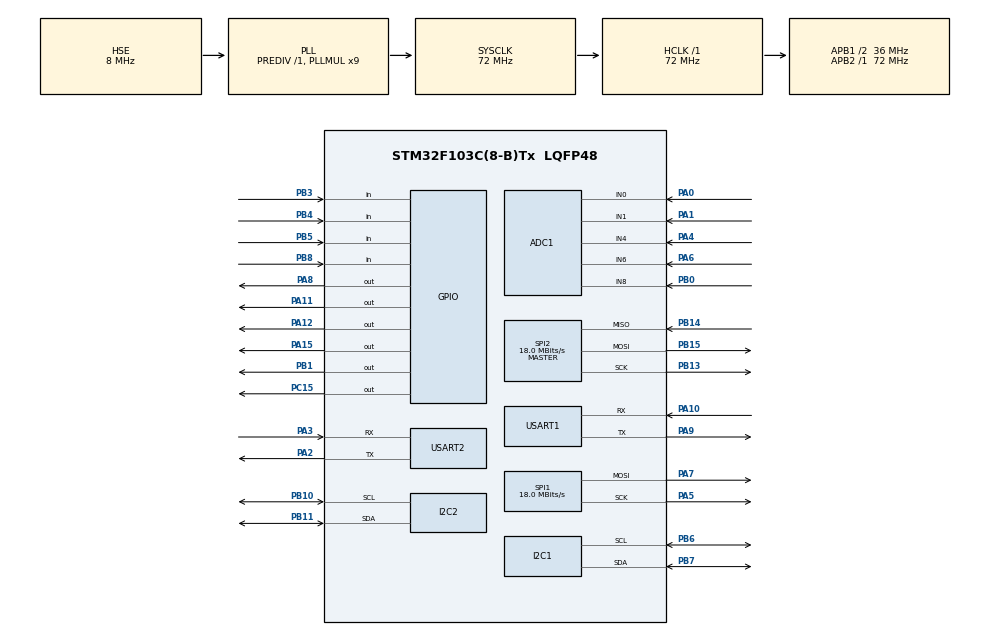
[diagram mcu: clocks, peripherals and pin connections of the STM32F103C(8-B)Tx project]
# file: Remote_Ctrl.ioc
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ADC1.Channel-5\#ChannelRegularConversion=ADC_CHANNEL_0
ADC1.ContinuousConvMode=DISABLE
ADC1.DiscontinuousConvMode=DISABLE
ADC1.EnableRegularConversion=ENABLE
ADC1.NbrOfConversionFlag=1
ADC1.Rank-5\#ChannelRegularConversion=1
ADC1.SamplingTime-5\#ChannelRegularConversion=ADC_SAMPLETIME_1CYCLE_5
ADC1.master=1
Mcu.Family=STM32F1
Mcu.Name=STM32F103C(8-B)Tx
Mcu.Package=LQFP48
NVIC.PriorityGroup=NVIC_PRIORITYGROUP_4
NVIC.TIM1_UP_IRQn=true\:15\:0\:false\:false\:true\:false\:true\:true
NVIC.TIM2_IRQn=true\:0\:0\:false\:false\:true\:true\:true\:true
NVIC.TimeBase=TIM1_UP_IRQn
NVIC.TimeBaseIP=TIM1
PA0-WKUP.Signal=ADCx_IN0
PA1.Signal=ADCx_IN1
PA10.Mode=Asynchronous
PA10.Signal=USART1_RX
PA11.Signal=GPIO_Output
PA12.Signal=GPIO_Output
PA13.Mode=Serial_Wire
PA13.Signal=SYS_JTMS-SWDIO
PA14.Mode=Serial_Wire
PA14.Signal=SYS_JTCK-SWCLK
PA15.Signal=GPIO_Output
PA2.Mode=Asynchronous
PA2.Signal=USART2_TX
PA3.Mode=Asynchronous
PA3.Signal=USART2_RX
PA4.Signal=ADCx_IN4
PA5.Mode=TX_Only_Simplex_Unidirect_Master
PA5.Signal=SPI1_SCK
PA6.Signal=ADCx_IN6
PA7.Mode=TX_Only_Simplex_Unidirect_Master
PA7.Signal=SPI1_MOSI
PA8.Signal=GPIO_Output
PA9.Mode=Asynchronous
PA9.Signal=USART1_TX
PB0.Signal=ADCx_IN8
PB1.Signal=GPIO_Output
PB10.Mode=I2C
PB10.Signal=I2C2_SCL
PB11.Mode=I2C
PB11.Signal=I2C2_SDA
PB13.Mode=Full_Duplex_Master
PB13.Signal=SPI2_SCK
PB14.Mode=Full_Duplex_Master
PB14.Signal=SPI2_MISO
PB15.Mode=Full_Duplex_Master
PB15.Signal=SPI2_MOSI
PB3.GPIO_PuPd=GPIO_PULLDOWN
PB3.Signal=GPIO_Input
PB4.GPIO_PuPd=GPIO_PULLDOWN
PB4.Signal=GPIO_Input
PB5.GPIO_PuPd=GPIO_PULLDOWN
PB5.Signal=GPIO_Input
PB6.Mode=I2C
PB6.Signal=I2C1_SCL
PB7.Mode=I2C
PB7.Signal=I2C1_SDA
PB8.GPIO_PuPd=GPIO_PULLDOWN
PB8.Signal=GPIO_Input
PC15-OSC32_OUT.Signal=GPIO_Output
PD0-OSC_IN.Mode=HSE-External-Oscillator
PD0-OSC_IN.Signal=RCC_OSC_IN
PD1-OSC_OUT.Mode=HSE-External-Oscillator
PD1-OSC_OUT.Signal=RCC_OSC_OUT
ProjectManager.HeapSize=0x200
ProjectManager.StackSize=0x400
ProjectManager.TargetToolchain=MDK-ARM V5.32
RCC.ADCPresc=RCC_ADCPCLK2_DIV6
RCC.AHBFreq_Value=72000000
RCC.APB1CLKDivider=RCC_HCLK_DIV2
RCC.APB1Freq_Value=36000000
RCC.APB1TimFreq_Value=72000000
RCC.APB2Freq_Value=72000000
RCC.APB2TimFreq_Value=72000000
RCC.HCLKFreq_Value=72000000
RCC.PLLMUL=RCC_PLL_MUL9
RCC.PLLSourceVirtual=RCC_PLLSOURCE_HSE
RCC.SYSCLKFreq_VALUE=72000000
RCC.SYSCLKSource=RCC_SYSCLKSOURCE_PLLCLK
RCC.USBFreq_Value=72000000
SH.ADCx_IN0.0=ADC1_IN0,IN0
SH.ADCx_IN1.0=ADC1_IN1,IN1
SH.ADCx_IN4.0=ADC1_IN4,IN4
SH.ADCx_IN6.0=ADC1_IN6,IN6
SH.ADCx_IN8.0=ADC1_IN8,IN8
SPI1.BaudRatePrescaler=SPI_BAUDRATEPRESCALER_4
SPI1.CLKPhase=SPI_PHASE_1EDGE
SPI1.CalculateBaudRate=18.0 MBits/s
SPI1.Direction=SPI_DIRECTION_2LINES
SPI1.Mode=SPI_MODE_MASTER
SPI1.VirtualType=VM_MASTER
SPI2.CalculateBaudRate=18.0 MBits/s
SPI2.Direction=SPI_DIRECTION_2LINES
SPI2.Mode=SPI_MODE_MASTER
SPI2.VirtualType=VM_MASTER
TIM2.AutoReloadPreload=TIM_AUTORELOAD_PRELOAD_ENABLE
TIM2.Period=500-1
TIM2.Prescaler=7199
USART1.VirtualMode=VM_ASYNC
USART2.VirtualMode=VM_ASYNC
VP_SYS_VS_tim1.Mode=TIM1
VP_TIM2_VS_ClockSourceINT.Mode=Internal
board=custom

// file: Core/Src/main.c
/* USER CODE BEGIN Header */
/**
  ******************************************************************************
  * @file           : main.c
  * @brief          : Main program body
  ******************************************************************************
  * @attention
  *
  * Copyright (c) 2024 STMicroelectronics.
  * All rights reserved.
  *
  * This software is licensed under terms that can be found in the LICENSE file
  * in the root directory of this software component.
  * If no LICENSE file comes with this software, it is provided AS-IS.
  *
  ******************************************************************************
  */
/* USER CODE END Header */
#include "main.h"
#include "adc.h"
#include "i2c.h"
#include "spi.h"
#include "tim.h"
#include "usart.h"
#include "gpio.h"

/* USER CODE BEGIN Includes */
#include "nrf24L01.h"
#include "string.h"
#include "Lcd.h"
#include "Gui.h"
#include "pic.h"
#include "remote_ctrl.h"
#include "menu.h"

/* USER CODE END Includes */

void SystemClock_Config(void);

/* USER CODE BEGIN 0 */
char stringg[10]="nihao!!";
uint16_t count;

/* USER CODE END 0 */

int main(void)
{

  /* MCU Configuration--------------------------------------------------------*/

  /* Reset of all peripherals, Initializes the Flash interface and the Systick. */
  HAL_Init();

  /* Configure the system clock */
  SystemClock_Config();

  /* Initialize all configured peripherals */
  MX_GPIO_Init();
  MX_ADC1_Init();
  MX_I2C1_Init();
  MX_I2C2_Init();
  MX_SPI1_Init();
  MX_SPI2_Init();
  MX_USART1_UART_Init();
  MX_USART2_UART_Init();
  MX_TIM2_Init();
  /* USER CODE BEGIN 2 */

	HAL_ADCEx_Calibration_Start(&hadc1);
	NRF24L01_Init();
	NRF24L01_TX_Mode();

	menu_init();

	HAL_TIM_Base_Start_IT(&htim2);

  /* USER CODE END 2 */

  /* Infinite loop */
  /* USER CODE BEGIN WHILE */
  while (1)
  {

		menu1_to_menu2= main_menu();
		if(menu1_to_menu2==0) wheel_mode();
		if(menu1_to_menu2==1) walk_mode();
		if(menu1_to_menu2==2)
		{
			while(1)
			{
				setting_to_menu3=Setting_mode();
				if(setting_to_menu3==0)       P_SET();
				else if(setting_to_menu3==1)  I_SET();
				else if(setting_to_menu3==2)  Ratio_set();
				else break;

			}
		}
		if(menu1_to_menu2==3) Author();
    /* USER CODE END WHILE */

  }
}

void SystemClock_Config(void)
{
  RCC_OscInitTypeDef RCC_OscInitStruct = {0};
  RCC_ClkInitTypeDef RCC_ClkInitStruct = {0};
  RCC_PeriphCLKInitTypeDef PeriphClkInit = {0};

  /** Initializes the RCC Oscillators according to the specified parameters
  * in the RCC_OscInitTypeDef structure.
  */
  RCC_OscInitStruct.OscillatorType = RCC_OSCILLATORTYPE_HSE;
  RCC_OscInitStruct.HSEState = RCC_HSE_ON;
  RCC_OscInitStruct.HSEPredivValue = RCC_HSE_PREDIV_DIV1;
  RCC_OscInitStruct.HSIState = RCC_HSI_ON;
  RCC_OscInitStruct.PLL.PLLState = RCC_PLL_ON;
  RCC_OscInitStruct.PLL.PLLSource = RCC_PLLSOURCE_HSE;
  RCC_OscInitStruct.PLL.PLLMUL = RCC_PLL_MUL9;
  if (HAL_RCC_OscConfig(&RCC_OscInitStruct) != HAL_OK)
  {
    Error_Handler();
  }

  /** Initializes the CPU, AHB and APB buses clocks
  */
  RCC_ClkInitStruct.ClockType = RCC_CLOCKTYPE_HCLK|RCC_CLOCKTYPE_SYSCLK
                              |RCC_CLOCKTYPE_PCLK1|RCC_CLOCKTYPE_PCLK2;
  RCC_ClkInitStruct.SYSCLKSource = RCC_SYSCLKSOURCE_PLLCLK;
  RCC_ClkInitStruct.AHBCLKDivider = RCC_SYSCLK_DIV1;
  RCC_ClkInitStruct.APB1CLKDivider = RCC_HCLK_DIV2;
  RCC_ClkInitStruct.APB2CLKDivider = RCC_HCLK_DIV1;

  if (HAL_RCC_ClockConfig(&RCC_ClkInitStruct, FLASH_LATENCY_2) != HAL_OK)
  {
    Error_Handler();
  }
  PeriphClkInit.PeriphClockSelection = RCC_PERIPHCLK_ADC;
  PeriphClkInit.AdcClockSelection = RCC_ADCPCLK2_DIV6;
  if (HAL_RCCEx_PeriphCLKConfig(&PeriphClkInit) != HAL_OK)
  {
    Error_Handler();
  }
}

void HAL_TIM_PeriodElapsedCallback(TIM_HandleTypeDef *htim)
{
  if (htim->Instance == TIM1) {
    HAL_IncTick();
  }
}

void Error_Handler(void)
{
  __disable_irq();
  while (1)
  {
  }
}
